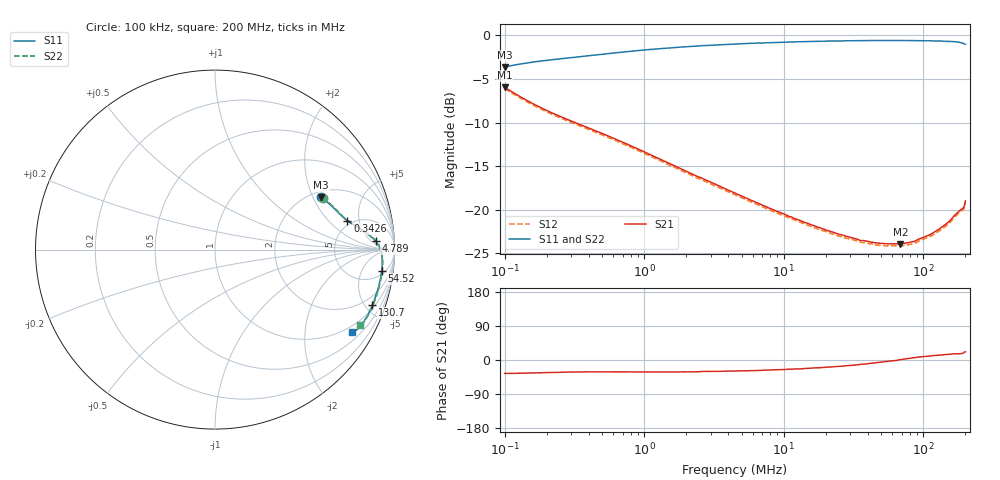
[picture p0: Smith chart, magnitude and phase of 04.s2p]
#  HZ  S  RI  R  50.00
! Rohde & Schwarz Vector Network Analyzer
! Rohde-Schwarz,ZNLE6-2Port,1323001256200024,1.71.1.10-23.02.1.238
! Created: UTC 4/8/2025, 6:17:50 AM
! freq[Hz]  re:S11  im:S11  re:S21  im:S21  re:S12  im:S12  re:S22  im:S22
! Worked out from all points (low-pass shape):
!   1001 points, 100 kHz to 200 MHz, reference 50 ohm
!   highest |S21| = -5.95 dB at 100 kHz (marker M1); lowest = -23.9 dB at 68.48 MHz (marker M2)
!   |S21| within 3 dB of the highest: start of sweep to 223.3 kHz
!   lowest |S11| = -3.6 dB at 100 kHz (marker M3), VSWR 4.86, Z = 113 + j116 ohm
!   |S11| at or under -10 dB: nowhere
!   |S22| runs from -3.5 to -0.5 dB; largest |S21 - S12| = 0.0089
!   S11 on the Smith chart (normalised r, x): 100 kHz: 2.25, +2.31; 342.6 kHz: 4.55, +3.40; 4.789 MHz: 15, +7; 54.52 MHz: 6, -12; 130.7 MHz: 1.23, -5.60; 200 MHz: 0.78, -3.45
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100000  0.5914 0.2906  0.4114 -0.2916  0.4027 -0.2902  0.6002 0.2891
166406  0.6713 0.222  0.3309 -0.2232  0.324 -0.2213  0.6782 0.22
236056.7  0.7067 0.1868  0.2952 -0.1881  0.2892 -0.1861  0.7128 0.1848
342583.8  0.7378 0.1604  0.2641 -0.1617  0.2585 -0.1598  0.7432 0.1585
355854.1  0.7408 0.1582  0.261 -0.1595  0.2555 -0.1576  0.7463 0.1563
1266322  0.8332 0.0997  0.1676 -0.1037  0.1639 -0.1021  0.8368 0.0983
2397897  0.8668 0.0742  0.1331 -0.0805  0.1303 -0.0789  0.8695 0.0733
4472136  0.8921 0.0501  0.1091 -0.0605  0.1056 -0.0607  0.8949 0.0517
4788773  0.8946 0.0471  0.1067 -0.0584  0.1031 -0.0591  0.897 0.0491
1.591428e7  0.9243 -0.00625  0.0762 -0.03  0.0738 -0.0303  0.9262 -0.0028
2.608278e7  0.9305 -0.0388  0.0688 -0.0201  0.0671 -0.02  0.9324 -0.0337
3.508279e7  0.9314 -0.0662  0.0653 -0.0136  0.0633 -0.0152  0.9339 -0.0577
5.451975e7  0.9287 -0.1192  0.0637 -0.00426  0.0619 -0.00565  0.9326 -0.1068
5.663162e7  0.9279 -0.1248  0.0637 -0.00343  0.0618 -0.00485  0.9321 -0.1119
6.848331e7  0.9229 -0.1564  0.0635 0.00094  0.0622 -0.00154  0.9281 -0.1403
8.667956e7  0.9127 -0.2007  0.0656 0.00742  0.0641 0.00563  0.9201 -0.182
1.105477e8  0.895 -0.258  0.0705 0.013  0.069 0.0112  0.9069 -0.2352
1.306689e8  0.8772 -0.3084  0.0758 0.0175  0.0742 0.0157  0.8915 -0.2808
1.486928e8  0.857 -0.354  0.0813 0.0213  0.0795 0.0197  0.8749 -0.3203
1.679215e8  0.8295 -0.4002  0.0894 0.0259  0.0878 0.0236  0.8555 -0.3628
1.882009e8  0.7894 -0.4472  0.0964 0.0294  0.0948 0.0272  0.8264 -0.4059
2e8  0.7641 -0.4582  0.1044 0.0417  0.1027 0.0393  0.8091 -0.4226
